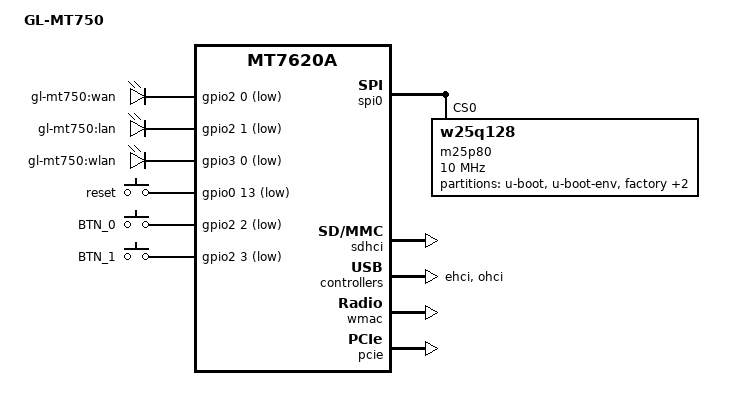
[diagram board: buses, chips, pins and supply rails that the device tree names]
/dts-v1/;

#include "mt7620a.dtsi"

/ {
	compatible = "GL-MT750", "ralink,mt7620a-soc";
	model = "GL-MT750";

	chosen {
		bootargs = "console=ttyS0,115200";
	};

	gpio-leds {
		compatible = "gpio-leds";

		wan {
			label = "gl-mt750:wan";
			gpios = <&gpio2 0 1>;
		};

		lan {
			label = "gl-mt750:lan";
			gpios = <&gpio2 1 1>;
		};

		wlan {
			label = "gl-mt750:wlan";
			gpios = <&gpio3 0 1>;
		};

	};

	gpio-keys-polled {
		compatible = "gpio-keys-polled";
		#address-cells = <1>;
		#size-cells = <0>;
		poll-interval = <20>;
		reset {
			label = "reset";
			gpios = <&gpio0 13 1>;
			linux,code = <0x198>;
		};

		BTN_0 {
			label = "BTN_0";
			gpios = <&gpio2 2 1>;
			linux,code = <0x100>;
		};

  	    BTN_1 {
			label = "BTN_1";
			gpios = <&gpio2 3 1>;
			linux,code = <0x101>;
		};
 	};
};

&gpio0 {
	status = "okay";
};

&gpio1 {
	status = "okay";
};

&gpio2 {
	status = "okay";
};
		
&gpio3 {
	status = "okay";
};

&spi0 {
	status = "okay";

	m25p80@0 {
		#address-cells = <1>;
		#size-cells = <1>;
		compatible = "w25q128";
		reg = <0>;
		linux,modalias = "m25p80", "w25q128";
		spi-max-frequency = <10000000>;

		partition@0 {
			label = "u-boot";
			reg = <0x0 0x30000>;
		};

		partition@30000 {
			label = "u-boot-env";
			reg = <0x30000 0x10000>;
			read-only;
		};

		factory: partition@40000 {
			label = "factory";
			reg = <0x40000 0x10000>;
			read-only;
		};

		partition@50000 {
			label = "firmware";
			reg = <0x50000 0xf80000>;
		};

		partition@ff0000 {
			label = "art";
			reg = <0xff0000 0x10000>;
		};
	};
};

&sdhci {
	status = "okay";
};

&ehci {
	status = "okay";
};

&ohci {
	status = "okay";
};

&ethernet {
	pinctrl-names = "default";
	pinctrl-0 = <&ephy_pins>;
	mtd-mac-address = <&factory 0x4000>;
	ralink,port-map = "llllw";
};

&wmac {
	ralink,mtd-eeprom = <&factory 0>;
};

&pcie {
	status = "okay";

	pcie-bridge {
		mt76@0,0 {
			reg = <0x0000 0 0 0 0>;
			device_type = "pci";
			mediatek,mtd-eeprom = <&factory 0x8000>;
			mediatek,2ghz = <0>;
		};
	};
};

&pinctrl {
	state_default: pinctrl0 {
		gpio {
			ralink,group = "wled","ephy","uartf";
			ralink,function = "gpio";
		};
	};
};
